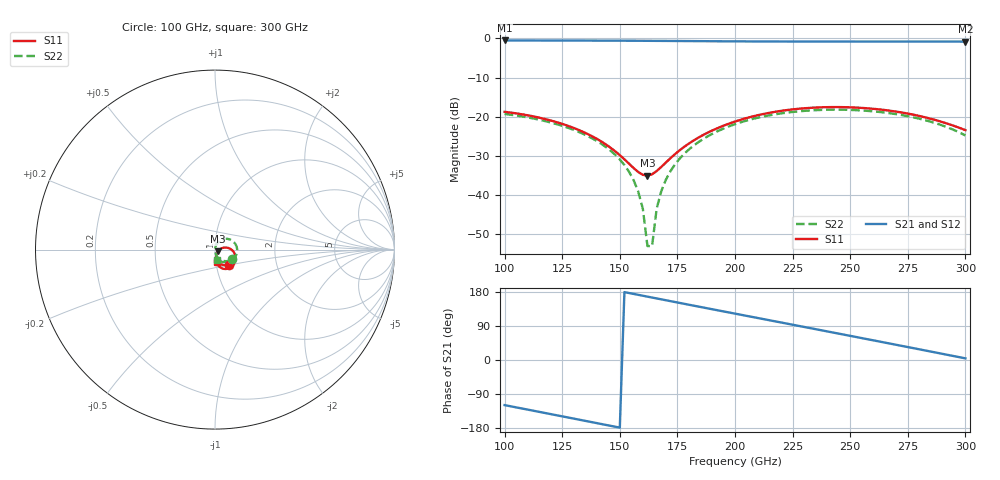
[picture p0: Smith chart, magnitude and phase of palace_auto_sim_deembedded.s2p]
! Created with skrf 1.11.0 (http://scikit-rf.org).
# GHz S DB R 50.0
!freq dBS11 angS11 dBS21 angS21 dBS12 angS12 dBS22 angS22
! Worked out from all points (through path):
!   101 points, 100 GHz to 300 GHz, reference 50 ohm
!   highest |S21| = -0.50 dB at 100 GHz (marker M1); lowest = -0.8 dB at 300 GHz (marker M2)
!   group delay of S21, straight-line fit = 3.28 ps
!   lowest |S11| = -35.0 dB at 162 GHz (marker M3), VSWR 1.04, Z = 51.5 - j1 ohm
!   |S11| at or under -10 dB: start of sweep to end of sweep
!   |S22| runs from -53.0 to -18.2 dB; largest |S21 - S12| = 1.6e-13
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100  -18.71 -46.4  -0.50 -119.1  -0.50 -119.1  -19.26 -29.9
118  -20.62 -64.7  -0.52 -140.4  -0.52 -140.4  -21.14 -47.3
134  -23.81 -77.9  -0.54 -159.4  -0.54 -159.4  -24.31 -63.0
146  -27.88 -81.3  -0.56 -173.7  -0.56 -173.7  -28.63 -74.9
154  -31.94 -71.7  -0.57 176.8  -0.57 176.8  -34.00 -83.0
158  -34.07 -56.9  -0.58 172.0  -0.58 172.0  -39.05 -87.0
160  -34.78 -45.8  -0.59 169.6  -0.59 169.6  -43.46 -89.1
162  -35.00 -33.2  -0.60 167.2  -0.60 167.2  -52.97 -91.6
164  -34.64 -20.8  -0.60 164.8  -0.60 164.8  -52.99 87.6
166  -33.82 -10.3  -0.61 162.5  -0.61 162.5  -43.42 85.2
168  -32.77 -2.3  -0.62 160.1  -0.62 160.1  -38.97 83.1
172  -30.53 7.3  -0.63 155.3  -0.63 155.3  -33.84 78.9
176  -28.52 11.5  -0.65 150.6  -0.65 150.6  -30.64 74.7
180  -26.80 12.6  -0.66 145.9  -0.66 145.9  -28.31 70.4
188  -24.07 10.4  -0.69 136.4  -0.69 136.4  -25.02 61.7
200  -21.20 1.9  -0.73 122.4  -0.73 122.4  -21.87 47.9
218  -18.65 -15.5  -0.77 101.3  -0.77 101.3  -19.30 26.7
234  -17.66 -32.1  -0.78 82.5  -0.78 82.5  -18.32 8.1
250  -17.57 -48.2  -0.79 63.7  -0.79 63.7  -18.23 -10.5
268  -18.49 -64.6  -0.79 42.4  -0.79 42.4  -19.14 -32.1
284  -20.33 -76.1  -0.79 23.4  -0.79 23.4  -21.08 -52.6
300  -23.38 -80.0  -0.80 4.3  -0.80 4.3  -24.75 -76.9
